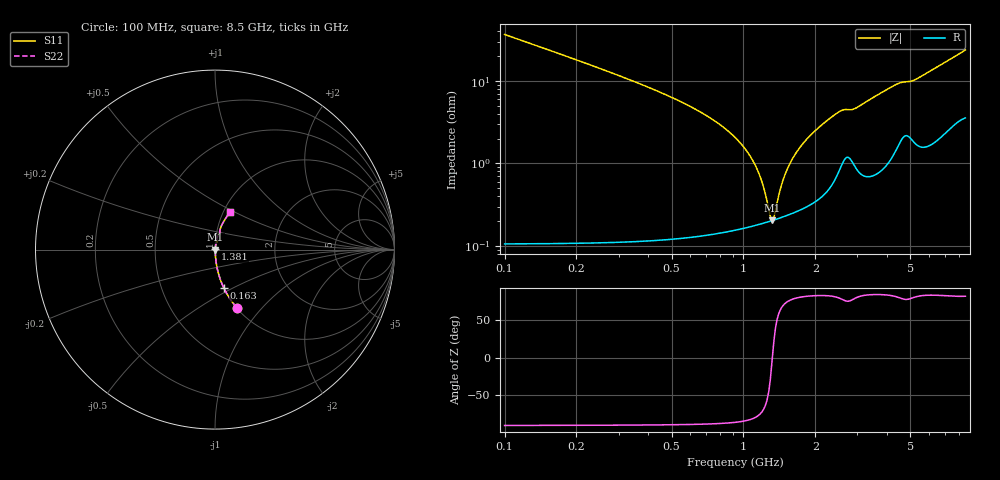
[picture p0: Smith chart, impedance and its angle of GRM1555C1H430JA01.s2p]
!Murata Part Number: GRM1555C1H430JA01
!These Parameters are Measured in Series Mode Connection
!Data Generated on Mar 30, 2021
!  o--ll--o
!Port1  Port2
!  o------o
!Operation Temp=25[degC], DC Bias Voltage=0[V]
!Freq. Start=100[MHz] Stop=9[GHz] 401[Steps]
# Hz S RI R 50
!Freq.(Hz) S11(Real) S11(Imag) S21(Real) S21(Imag) S12(Real) S12(Imag) S22(Real) S22(Imag)
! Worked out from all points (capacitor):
!   401 points, 100 MHz to 8.5 GHz, reference 50 ohm
!   read as one part in series: C = 43 pF near 142 MHz
!   lowest |Z| = 203 mohm at 1.318 GHz (marker M1)
!   series resonance near 1.322 GHz, so ESL is about 340 pH
!   S11 on the Smith chart (normalised r, x): 100 MHz: 1.00, -0.74; 163 MHz: 1.00, -0.45; 1.381 GHz: 1.00, +0.00; 8.5 GHz: 1.07, +0.47
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1e8  0.12 -0.3235  0.88 0.3235  0.88 0.3235  0.12 -0.3235
1.63e8  0.0486 -0.2126  0.9514 0.2126  0.9514 0.2126  0.0486 -0.2126
2.47e8  0.0215 -0.1414  0.9785 0.1414  0.9785 0.1414  0.0215 -0.1414
3.73e8  0.00939 -0.0904  0.9906 0.0904  0.9906 0.0904  0.00939 -0.0904
8.56e8  0.00211 -0.0251  0.9979 0.0251  0.9979 0.0251  0.00211 -0.0251
1.024e9  0.00186 -0.0145  0.9981 0.0145  0.9981 0.0145  0.00186 -0.0145
1.15e9  0.00186 -0.00786  0.9981 0.00786  0.9981 0.00786  0.00186 -0.00786
1.276e9  0.00197 -0.00199  0.998 0.00199  0.998 0.00199  0.00197 -0.00199
1.318e9  0.00202 -0.000162  0.998 0.000162  0.998 0.000162  0.00202 -0.000162
1.339e9  0.00205 0.00073  0.9979 -0.00073  0.9979 -0.00073  0.00205 0.00073
1.381e9  0.00212 0.00248  0.9979 -0.00248  0.9979 -0.00248  0.00212 0.00248
1.444e9  0.00223 0.00501  0.9978 -0.00501  0.9978 -0.00501  0.00223 0.00501
1.507e9  0.00237 0.00746  0.9976 -0.00746  0.9976 -0.00746  0.00237 0.00746
1.591e9  0.00257 0.0106  0.9974 -0.0106  0.9974 -0.0106  0.00257 0.0106
1.717e9  0.00292 0.0151  0.9971 -0.0151  0.9971 -0.0151  0.00292 0.0151
2.053e9  0.00431 0.0264  0.9957 -0.0264  0.9957 -0.0264  0.00431 0.0264
2.536e9  0.0102 0.0414  0.9898 -0.0414  0.9898 -0.0414  0.0102 0.0414
2.914e9  0.0113 0.0442  0.9887 -0.0442  0.9887 -0.0442  0.0113 0.0442
4.3e9  0.0208 0.0852  0.9792 -0.0852  0.9792 -0.0852  0.0208 0.0852
5.707e9  0.0288 0.1135  0.9712 -0.1135  0.9712 -0.1135  0.0288 0.1135
7.114e9  0.0507 0.1601  0.9493 -0.1601  0.9493 -0.1601  0.0507 0.1601
8.5e9  0.0823 0.2096  0.9177 -0.2096  0.9177 -0.2096  0.0823 0.2096
